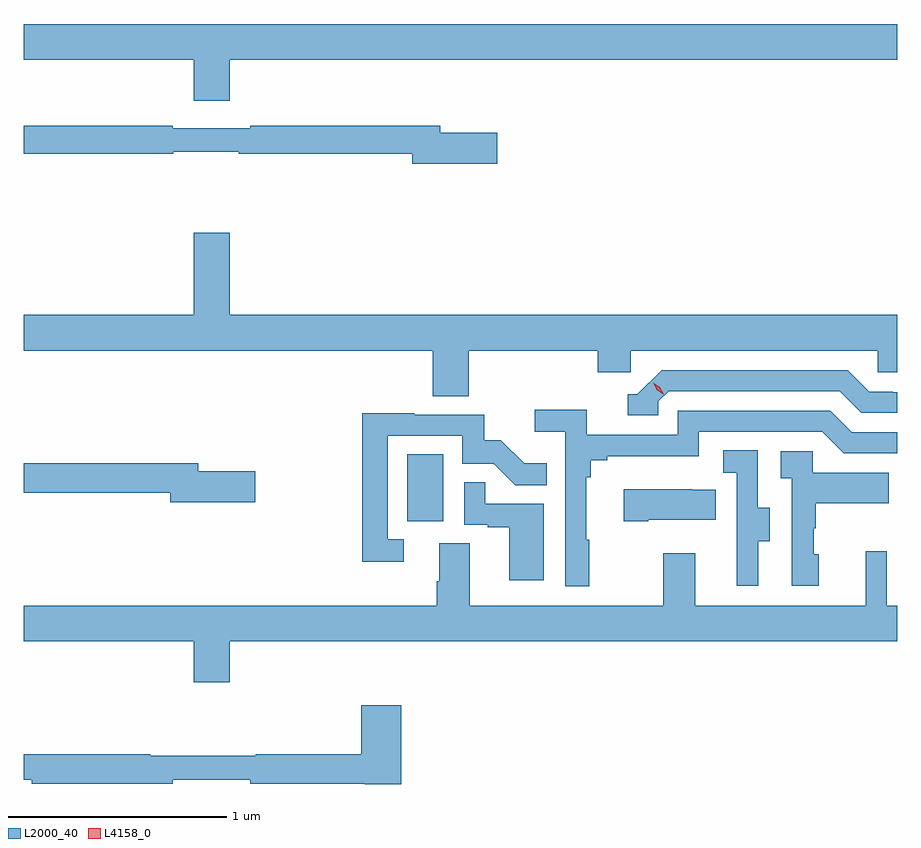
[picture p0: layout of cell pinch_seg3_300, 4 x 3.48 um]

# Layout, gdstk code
import gdstk
lib = gdstk.Library(unit=1e-6, precision=1e-09)
def R(c, l, rs):  # rectangles x0, y0, x1, y1
    for r in rs: c.add(gdstk.rectangle(r[:2], r[2:], *l))
def P(c, l, *ps):  # polygons
    for p in ps: c.add(gdstk.Polygon(p, *l))
L2000_40 = (2000, 40)
L4158_0 = (4158, 0)

pinch_seg3_300 = lib.new_cell('pinch_seg3_300')
R(pinch_seg3_300, L2000_40, [(981.17,710.79,981.334,711.097)])
P(pinch_seg3_300, L2000_40, [(980.356,712.904),(983.414,712.904),(983.414,713.068),(979.414,713.068),(979.414,712.904),(980.192,712.904),(980.192,712.716),(980.356,712.716)],
  [(981.583,712.569),(981.322,712.569),(981.322,712.603),(980.452,712.603),(980.452,712.59),(980.096,712.59),(980.096,712.603),(979.414,712.603),(979.414,712.474),(980.098,712.474),(980.098,712.482),(980.398,712.482),(980.398,712.474),(981.194,712.474),(981.194,712.427),(981.583,712.427)],
  [(981.452,711.572),(982.043,711.572),(982.043,711.474),(982.194,711.474),(982.194,711.572),(983.325,711.572),(983.325,711.474),(983.414,711.474),(983.414,711.736),(980.356,711.736),(980.356,712.111),(980.192,712.111),(980.192,711.736),(979.414,711.736),(979.414,711.572),(981.287,711.572),(981.287,711.364),(981.452,711.364)],
  [(982.32,711.339),(982.368,711.387),(983.151,711.387),(983.25,711.288),(983.414,711.288),(983.414,711.381),(983.394,711.381),(983.394,711.384),(983.287,711.384),(983.188,711.483),(982.335,711.483),(982.224,711.372),(982.181,711.372),(982.181,711.276),(982.32,711.276)],
  [(982.003,710.705),(981.991,710.705),(981.991,710.993),(982.01,710.993),(982.01,711.07),(982.087,711.07),(982.087,711.089),(982.506,711.089),(982.506,711.201),(983.07,711.201),(983.169,711.102),(983.414,711.102),(983.414,711.198),(983.206,711.198),(983.107,711.297),(982.41,711.297),(982.41,711.186),(981.992,711.186),(981.992,711.302),(981.753,711.302),(981.753,711.2),(981.894,711.2),(981.894,710.493),(982.003,710.493)],
  [(981.154,710.709),(981.081,710.709),(981.081,711.183),(981.423,711.183),(981.423,711.054),(981.567,711.054),(981.665,710.956),(981.809,710.956),(981.809,711.055),(981.705,711.055),(981.598,711.162),(981.522,711.162),(981.522,711.279),(981.203,711.279),(981.203,711.284),(980.965,711.284),(980.965,710.604),(981.154,710.604)],
  [(982.777,710.698),(982.831,710.698),(982.831,710.853),(982.776,710.853),(982.776,711.116),(982.617,711.116),(982.617,711.013),(982.68,711.013),(982.68,710.709),(982.679,710.709),(982.679,710.496),(982.777,710.496)],
  [(983.056,710.64),(983.031,710.64),(983.031,710.759),(983.041,710.759),(983.041,710.873),(983.375,710.873),(983.375,711.013),(983.028,711.013),(983.028,711.111),(982.881,711.111),(982.881,710.987),(982.932,710.987),(982.932,710.496),(983.056,710.496)],
  [(980.473,711.02),(980.212,711.02),(980.212,711.056),(979.414,711.056),(979.414,710.92),(980.084,710.92),(980.084,710.878),(980.473,710.878)],
  [(981.796,710.871),(981.527,710.871),(981.527,710.969),(981.432,710.969),(981.432,710.775),(981.539,710.775),(981.539,710.763),(981.638,710.763),(981.638,710.52),(981.796,710.52)],
  [(982.273,710.798),(982.583,710.798),(982.583,710.935),(982.475,710.935),(982.475,710.938),(982.161,710.938),(982.161,710.791),(982.273,710.791)],
  [(979.414,710.24),(980.192,710.24),(980.192,710.052),(980.356,710.052),(980.356,710.24),(983.414,710.24),(983.414,710.404),(983.367,710.404),(983.367,710.653),(983.27,710.653),(983.27,710.404),(982.489,710.404),(982.489,710.644),(982.342,710.644),(982.342,710.404),(981.457,710.404),(981.457,710.69),(981.317,710.69),(981.317,710.516),(981.305,710.516),(981.305,710.404),(979.414,710.404)],
  [(981.143,709.948),(980.96,709.948),(980.96,709.724),(980.476,709.724),(980.476,709.717),(979.992,709.717),(979.992,709.724),(979.414,709.724),(979.414,709.607),(979.45,709.607),(979.45,709.588),(980.096,709.588),(980.096,709.607),(980.452,709.607),(980.452,709.588),(980.976,709.588),(980.976,709.587),(981.143,709.587)])
P(pinch_seg3_300, L4158_0, [(982.343,711.372),(982.312,711.392),(982.296,711.425),(982.296,711.425),(982.297,711.425),(982.327,711.405),(982.344,711.373),(982.344,711.372)])

lib.write_gds('pinch_seg3_300.gds')
